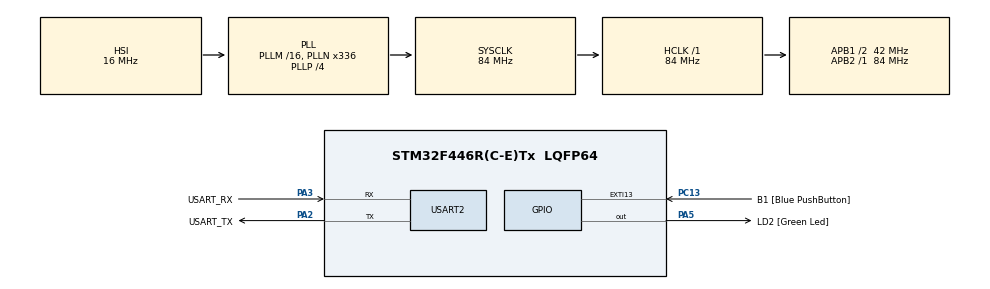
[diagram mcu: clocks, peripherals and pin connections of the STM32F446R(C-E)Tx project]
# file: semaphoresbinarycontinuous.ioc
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FREERTOS.Tasks01=defaultTask,24,128,StartDefaultTask,Default,NULL,Dynamic,NULL,NULL
Mcu.Family=STM32F4
Mcu.Name=STM32F446R(C-E)Tx
Mcu.Package=LQFP64
NVIC.PriorityGroup=NVIC_PRIORITYGROUP_4
PA13.GPIO_Label=TMS
PA13.Mode=Serial_Wire
PA13.Signal=SYS_JTMS-SWDIO
PA14.GPIO_Label=TCK
PA14.Mode=Serial_Wire
PA14.Signal=SYS_JTCK-SWCLK
PA2.GPIO_Label=USART_TX
PA2.Mode=Asynchronous
PA2.Signal=USART2_TX
PA3.GPIO_Label=USART_RX
PA3.Mode=Asynchronous
PA3.Signal=USART2_RX
PA5.GPIO_Label=LD2 [Green Led]
PA5.Signal=GPIO_Output
PB3.GPIO_Label=SWO
PB3.Signal=SYS_JTDO-SWO
PC13.GPIO_Label=B1 [Blue PushButton]
PC13.GPIO_ModeDefaultEXTI=GPIO_MODE_IT_FALLING
PC13.Signal=GPXTI13
PC14-OSC32_IN.Mode=LSE-External-Oscillator
PC14-OSC32_IN.Signal=RCC_OSC32_IN
PC15-OSC32_OUT.Mode=LSE-External-Oscillator
PC15-OSC32_OUT.Signal=RCC_OSC32_OUT
PH0-OSC_IN.Mode=HSE-External-Oscillator
PH0-OSC_IN.Signal=RCC_OSC_IN
PH1-OSC_OUT.Mode=HSE-External-Oscillator
PH1-OSC_OUT.Signal=RCC_OSC_OUT
ProjectManager.HeapSize=0x200
ProjectManager.StackSize=0x400
ProjectManager.TargetToolchain=STM32CubeIDE
RCC.48MHZClocksFreq_Value=84000000
RCC.AHBFreq_Value=84000000
RCC.APB1CLKDivider=RCC_HCLK_DIV2
RCC.APB1Freq_Value=42000000
RCC.APB1TimFreq_Value=84000000
RCC.APB2Freq_Value=84000000
RCC.APB2TimFreq_Value=84000000
RCC.CortexFreq_Value=84000000
RCC.FLatency-AdvancedSettings=FLASH_LATENCY_2
RCC.HCLKFreq_Value=84000000
RCC.HSE_VALUE=8000000
RCC.HSI_VALUE=16000000
RCC.PLLN=336
RCC.PLLP=RCC_PLLP_DIV4
RCC.SYSCLKFreq_VALUE=84000000
RCC.SYSCLKSource=RCC_SYSCLKSOURCE_PLLCLK
RCC.USBFreq_Value=168000000
RCC.VCOOutputFreq_Value=336000000
USART2.VirtualMode=VM_ASYNC
VP_FREERTOS_VS_CMSIS_V2.Mode=CMSIS_V2
board=NUCLEO-F446RE

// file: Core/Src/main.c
/* USER CODE BEGIN Header */
/**
  ******************************************************************************
  * @file           : main.c
  * @brief          : Main program body
  ******************************************************************************
  * @attention
  *
  * Copyright (c) 2026 STMicroelectronics.
  * All rights reserved.
  *
  * This software is licensed under terms that can be found in the LICENSE file
  * in the root directory of this software component.
  * If no LICENSE file comes with this software, it is provided AS-IS.
  *
  ******************************************************************************
  */
/* USER CODE END Header */
#include "main.h"
#include "cmsis_os.h"
#include<stdio.h>

/* USER CODE BEGIN PM */
/* Task Handles */
osThreadId_t SensorTaskHandle;
osThreadId_t LCDTaskHandle;
osThreadId_t UARTTaskHandle;

/* Counting Semaphore */
osSemaphoreId_t CountSemHandle;

/* USER CODE END PM */

UART_HandleTypeDef huart2;

/* Definitions for defaultTask */
osThreadId_t defaultTaskHandle;
const osThreadAttr_t defaultTask_attributes = {
  .name = "defaultTask",
  .stack_size = 128 * 4,
  .priority = (osPriority_t) osPriorityNormal,
};

void SystemClock_Config(void);
static void MX_GPIO_Init(void);
static void MX_USART2_UART_Init(void);
void StartDefaultTask(void *argument);

/* USER CODE BEGIN 0 */
/* UART printf support */
int __io_putchar(int ch)
{
    HAL_UART_Transmit(&huart2, (uint8_t *)&ch, 1, HAL_MAX_DELAY);
    return ch;
}

/* Sensor Task */
void Sensor_Task(void *argument)
{
    for(;;)
    {
        printf("\r\nSensor Generated Data release 3 times\r\n");

        /* Increase semaphore count */
        osSemaphoreRelease(CountSemHandle);
        osDelay(1000);
        osSemaphoreRelease(CountSemHandle);
        osDelay(1000);
        osSemaphoreRelease(CountSemHandle);
        osDelay(1000);
    }
}

/* LCD Task */
void LCD_Task(void *argument)
{
    for(;;)
    {
        osSemaphoreAcquire(CountSemHandle, osWaitForever);

        printf("LCD Task Processed Data _ counting semaphore\r\n");

        osDelay(1000);
    }
}

/* UART Task */
void UART_Task(void *argument)
{
    for(;;)
    {
        osSemaphoreAcquire(CountSemHandle, osWaitForever);

        printf("UART Task Sent Data\r\n");

        osDelay(1000);
    }
}

/* USER CODE END 0 */

int main(void)
{

  /* MCU Configuration--------------------------------------------------------*/

  /* Reset of all peripherals, Initializes the Flash interface and the Systick. */
  HAL_Init();

  /* Configure the system clock */
  SystemClock_Config();

  /* Initialize all configured peripherals */
  MX_GPIO_Init();
  MX_USART2_UART_Init();

  /* Init scheduler */
  osKernelInitialize();

  /* Create the semaphores(s) */
  /* creation of myCountingSem01 */
  CountSemHandle = osSemaphoreNew(3, 0, NULL);

  /* USER CODE BEGIN RTOS_SEMAPHORES */
 // CountSemHandle = osSemaphoreNew(3, 0, NULL);

    /* Create Tasks */
    SensorTaskHandle = osThreadNew(Sensor_Task, NULL, NULL);
    LCDTaskHandle = osThreadNew(LCD_Task, NULL, NULL);
    UARTTaskHandle = osThreadNew(UART_Task, NULL, NULL);
  /* add semaphores, ... */
  /* USER CODE END RTOS_SEMAPHORES */

  /* Create the thread(s) */
  /* creation of defaultTask */
  defaultTaskHandle = osThreadNew(StartDefaultTask, NULL, &defaultTask_attributes);

  /* Start scheduler */
  osKernelStart();

  /* We should never get here as control is now taken by the scheduler */

  /* Infinite loop */
  while (1)
  {

  }
}

void SystemClock_Config(void)
{
  RCC_OscInitTypeDef RCC_OscInitStruct = {0};
  RCC_ClkInitTypeDef RCC_ClkInitStruct = {0};

  /** Configure the main internal regulator output voltage
  */
  __HAL_RCC_PWR_CLK_ENABLE();
  __HAL_PWR_VOLTAGESCALING_CONFIG(PWR_REGULATOR_VOLTAGE_SCALE3);

  /** Initializes the RCC Oscillators according to the specified parameters
  * in the RCC_OscInitTypeDef structure.
  */
  RCC_OscInitStruct.OscillatorType = RCC_OSCILLATORTYPE_HSI;
  RCC_OscInitStruct.HSIState = RCC_HSI_ON;
  RCC_OscInitStruct.HSICalibrationValue = RCC_HSICALIBRATION_DEFAULT;
  RCC_OscInitStruct.PLL.PLLState = RCC_PLL_ON;
  RCC_OscInitStruct.PLL.PLLSource = RCC_PLLSOURCE_HSI;
  RCC_OscInitStruct.PLL.PLLM = 16;
  RCC_OscInitStruct.PLL.PLLN = 336;
  RCC_OscInitStruct.PLL.PLLP = RCC_PLLP_DIV4;
  RCC_OscInitStruct.PLL.PLLQ = 2;
  RCC_OscInitStruct.PLL.PLLR = 2;
  if (HAL_RCC_OscConfig(&RCC_OscInitStruct) != HAL_OK)
  {
    Error_Handler();
  }

  /** Initializes the CPU, AHB and APB buses clocks
  */
  RCC_ClkInitStruct.ClockType = RCC_CLOCKTYPE_HCLK|RCC_CLOCKTYPE_SYSCLK
                              |RCC_CLOCKTYPE_PCLK1|RCC_CLOCKTYPE_PCLK2;
  RCC_ClkInitStruct.SYSCLKSource = RCC_SYSCLKSOURCE_PLLCLK;
  RCC_ClkInitStruct.AHBCLKDivider = RCC_SYSCLK_DIV1;
  RCC_ClkInitStruct.APB1CLKDivider = RCC_HCLK_DIV2;
  RCC_ClkInitStruct.APB2CLKDivider = RCC_HCLK_DIV1;

  if (HAL_RCC_ClockConfig(&RCC_ClkInitStruct, FLASH_LATENCY_2) != HAL_OK)
  {
    Error_Handler();
  }
}

static void MX_USART2_UART_Init(void)
{

  huart2.Instance = USART2;
  huart2.Init.BaudRate = 115200;
  huart2.Init.WordLength = UART_WORDLENGTH_8B;
  huart2.Init.StopBits = UART_STOPBITS_1;
  huart2.Init.Parity = UART_PARITY_NONE;
  huart2.Init.Mode = UART_MODE_TX_RX;
  huart2.Init.HwFlowCtl = UART_HWCONTROL_NONE;
  huart2.Init.OverSampling = UART_OVERSAMPLING_16;
  if (HAL_UART_Init(&huart2) != HAL_OK)
  {
    Error_Handler();
  }

}

static void MX_GPIO_Init(void)
{
  GPIO_InitTypeDef GPIO_InitStruct = {0};

  /* GPIO Ports Clock Enable */
  __HAL_RCC_GPIOC_CLK_ENABLE();
  __HAL_RCC_GPIOH_CLK_ENABLE();
  __HAL_RCC_GPIOA_CLK_ENABLE();
  __HAL_RCC_GPIOB_CLK_ENABLE();

  /*Configure GPIO pin Output Level */
  HAL_GPIO_WritePin(LD2_GPIO_Port, LD2_Pin, GPIO_PIN_RESET);

  /*Configure GPIO pin : B1_Pin */
  GPIO_InitStruct.Pin = B1_Pin;
  GPIO_InitStruct.Mode = GPIO_MODE_IT_FALLING;
  GPIO_InitStruct.Pull = GPIO_NOPULL;
  HAL_GPIO_Init(B1_GPIO_Port, &GPIO_InitStruct);

  /*Configure GPIO pin : LD2_Pin */
  GPIO_InitStruct.Pin = LD2_Pin;
  GPIO_InitStruct.Mode = GPIO_MODE_OUTPUT_PP;
  GPIO_InitStruct.Pull = GPIO_NOPULL;
  GPIO_InitStruct.Speed = GPIO_SPEED_FREQ_LOW;
  HAL_GPIO_Init(LD2_GPIO_Port, &GPIO_InitStruct);

}

void StartDefaultTask(void *argument)
{
  for(;;)
  {
    osDelay(1);
  }
}

void Error_Handler(void)
{
  __disable_irq();
  while (1)
  {
  }
}
